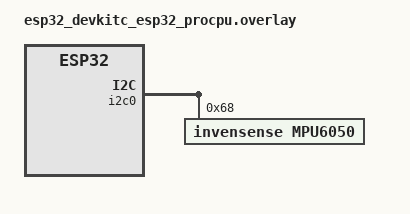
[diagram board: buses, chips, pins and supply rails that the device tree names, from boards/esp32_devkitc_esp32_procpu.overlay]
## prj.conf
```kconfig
#
# Copyright (c) 2019 Nordic Semiconductor ASA
#
# SPDX-License-Identifier: Apache-2.0
#

CONFIG_I2C=y
CONFIG_SENSOR=y
CONFIG_MPU6050_TRIGGER_NONE=y
CONFIG_CBPRINTF_FP_SUPPORT=y

CONFIG_SERIAL=y
CONFIG_UART_INTERRUPT_DRIVEN=y

CONFIG_FLASH=y
CONFIG_FLASH_MAP=y

# crc32_ieee(), used to checksum the stored calibration record
CONFIG_CRC=y
```

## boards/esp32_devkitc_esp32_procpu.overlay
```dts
&i2c0 {
	status = "okay";

	mpu6050@68 {
		compatible = "invensense,mpu6050";
		reg = <0x68>;
		status = "okay";
	};
};
&flash0 {
	status = "okay";
};

&storage_partition {
	status = "okay";
};
```

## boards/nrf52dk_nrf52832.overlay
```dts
/*
 * Copyright (c) 2019 Nordic Semiconductor ASA
 *
 * SPDX-License-Identifier: Apache-2.0
 */

&i2c0 {
	mpu6050@68 {
		compatible = "invensense,mpu6050";
		reg = <0x68>;
		status = "okay";
		int-gpios = <&gpio0 11 GPIO_ACTIVE_HIGH>;
		smplrt-div = <249>;
	};
};
```

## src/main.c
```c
/*
 * Copyright (c) 2019 Nordic Semiconductor ASA
 *
 * SPDX-License-Identifier: Apache-2.0
 */

#include <zephyr/kernel.h>
#include <zephyr/sys/printk.h>
#include <stdbool.h>

#include "accel.h"
#include "calibration.h"
#include "storage.h"
#include "uart_cmd.h"

#define STACKSIZE        1024
#define STACKSIZE_MPU    2048
#define PRIORITY         7
#define PRIORITY_MPU6050 7
#define PRIORITY_UART    6

/* Console report period. Independent of the 9 ms sensor sampling interval. */
#define REPORT_INTERVAL_MS 100

/* UART commands. */
#define CMD_NEXT_POSE 'n'
#define CMD_CALIBRATE 'c'


static void accel_thread(void *p1, void *p2, void *p3)
{
	ARG_UNUSED(p1); ARG_UNUSED(p2); ARG_UNUSED(p3);

	printk("INIT MPU\n");

	if (accel_init() != 0) {
		return;
	}

	accel_run();
}

static void calibration_thread(void *p1, void *p2, void *p3)
{
	struct accel_calibration cal;
	int rc;

	ARG_UNUSED(p1); ARG_UNUSED(p2); ARG_UNUSED(p3);

	/*
	 * A stored calibration means no six-point routine is needed at boot.
	 * Anything else -- never written, wrong version, corrupt -- is treated
	 * the same way: calibrate now and write the result.
	 */
	rc = storage_load_calibration(&cal);
	if (rc == 0) {
		set_calibration(&cal);
		printk("calibration: loaded from flash, send '%c' to redo\n",
		       CMD_CALIBRATE);
	} else {
		printk("calibration: none stored (%d), starting one\n", rc);
		calibration_request();
	}

	while (1) {
		calibration_wait();

		rc = calibration_run(&cal);
		if (rc != 0) {
			printk("calibration failed: %d\n", rc);
			continue;
		}

		rc = storage_store_calibration(&cal);
		if (rc != 0) {
			printk("calibration: store failed: %d, "
			       "values are lost on reset\n", rc);
		} else {
			printk("calibration: stored to flash\n");
		}
	}
}

static void command_thread(void *p1, void *p2, void *p3)
{
	char command[UART_CMD_MAX_LEN];

	ARG_UNUSED(p1); ARG_UNUSED(p2); ARG_UNUSED(p3);

	if (uart_cmd_init() != 0) {
		return;
	}

	while (1) {
		if (uart_cmd_get(command, sizeof(command), K_FOREVER) != 0) {
			continue;
		}

		switch (command[0]) {
		case CMD_NEXT_POSE:
			/* operator confirmed the current calibration pose */
			calibration_advance();
			break;
		case CMD_CALIBRATE:
			/* recalibrate and overwrite whatever is in flash */
			calibration_request();
			break;
		default:
			printk("unknown command: %s\n", command);
			break;
		}
	}
}

int main(void)
{
	if (storage_init() != 0) {
		printk("continuing without persistent storage\n");
	}

	/*
	 * Sole owner of the per-sample console output. Reporting from here
	 * rather than inside accel.c decouples the print rate from the sample
	 * rate, and keeps accel.c independent of calibration.c -- the sensor
	 * layer has no reason to know whether a calibration exists.
	 */
	while (1) {
		struct accel_sample s;

		if (accel_get_latest(&s) == 0) {
			bool cal = calibration_apply_active(&s) == 0;

			printk("[%s] [%f] [%f] [%f] g\n", cal ? "CAL" : "RAW",
			       (double)s.x, (double)s.y, (double)s.z);
		}

		k_sleep(K_MSEC(REPORT_INTERVAL_MS));
	}
}

K_THREAD_DEFINE(accel_tid, STACKSIZE_MPU, accel_thread, NULL, NULL, NULL,
		PRIORITY_MPU6050, K_FP_REGS, 0);

K_THREAD_DEFINE(calibration_tid, STACKSIZE_MPU, calibration_thread, NULL, NULL, NULL,
		PRIORITY, K_FP_REGS, 0);

K_THREAD_DEFINE(command_tid, STACKSIZE, command_thread, NULL, NULL, NULL,
		PRIORITY_UART, 0, 0);
```

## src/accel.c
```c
/*
 * Copyright (c) 2019 Nordic Semiconductor ASA
 *
 * SPDX-License-Identifier: Apache-2.0
 */

#include "accel.h"

#include <zephyr/kernel.h>
#include <zephyr/device.h>
#include <zephyr/drivers/sensor.h>
#include <zephyr/sys/printk.h>
#include <errno.h>
#include <stdbool.h>

#define SAMPLE_INTERVAL_MS 9

/* SENSOR_G is one g expressed in micro-m/s/s. */
#define ACCEL_MS2_PER_G ((float)SENSOR_G / 1000000.0f)

static const struct device *const accel_dev =
	DEVICE_DT_GET_ONE(invensense_mpu6050);

/*
 * The sampling thread writes the latest reading and the calibration thread
 * reads it, so the fields below are only touched under the mutex.
 */
K_MUTEX_DEFINE(sample_lock);
static struct accel_sample latest;
static bool latest_valid;

static void publish(const struct accel_sample *s)
{
	k_mutex_lock(&sample_lock, K_FOREVER);
	latest = *s;
	latest_valid = true;
	k_mutex_unlock(&sample_lock);
}

int accel_get_latest(struct accel_sample *out)
{
	int rc = 0;

	k_mutex_lock(&sample_lock, K_FOREVER);
	if (latest_valid) {
		*out = latest;
	} else {
		rc = -EAGAIN;
	}
	k_mutex_unlock(&sample_lock);

	return rc;
}

static float to_g(const struct sensor_value *v)
{
	return (float)sensor_value_to_double(v) / ACCEL_MS2_PER_G;
}

static int process_sample(const struct device *dev)
{
	struct sensor_value accel[3];
	/* Read and validated alongside the accelerometer; not consumed yet. */
	struct sensor_value gyro[3];
	struct sensor_value temperature;
	struct accel_sample s;
	int rc = sensor_sample_fetch(dev);

	if (rc == 0) {
		rc = sensor_channel_get(dev, SENSOR_CHAN_ACCEL_XYZ, accel);
	}
	if (rc == 0) {
		rc = sensor_channel_get(dev, SENSOR_CHAN_GYRO_XYZ, gyro);
	}
	if (rc == 0) {
		rc = sensor_channel_get(dev, SENSOR_CHAN_DIE_TEMP, &temperature);
	}
	if (rc != 0) {
		printk("sample fetch/get failed: %d\n", rc);
		return rc;
	}

	s.x = to_g(&accel[0]);
	s.y = to_g(&accel[1]);
	s.z = to_g(&accel[2]);
	publish(&s);

	return 0;
}

#ifdef CONFIG_MPU6050_TRIGGER
static struct sensor_trigger trigger;

static void handle_drdy(const struct device *dev,
			const struct sensor_trigger *trig)
{
	int rc = process_sample(dev);

	if (rc != 0) {
		printk("cancelling trigger due to failure: %d\n", rc);
		(void)sensor_trigger_set(dev, trig, NULL);
	}
}
#endif /* CONFIG_MPU6050_TRIGGER */

int accel_init(void)
{
	if (!device_is_ready(accel_dev)) {
		printk("Device %s is not ready\n", accel_dev->name);
		return -ENODEV;
	}

#ifdef CONFIG_MPU6050_TRIGGER
	trigger = (struct sensor_trigger){
		.type = SENSOR_TRIG_DATA_READY,
		.chan = SENSOR_CHAN_ALL,
	};

	int rc = sensor_trigger_set(accel_dev, &trigger, handle_drdy);

	if (rc < 0) {
		printk("Cannot configure trigger: %d\n", rc);
		return rc;
	}
	printk("Configured for triggered sampling.\n");
#endif

	return 0;
}

void accel_run(void)
{
	while (!IS_ENABLED(CONFIG_MPU6050_TRIGGER)) {
		if (process_sample(accel_dev) != 0) {
			break;
		}
		k_sleep(K_MSEC(SAMPLE_INTERVAL_MS));
	}
}
```

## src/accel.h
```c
/*
 * Copyright (c) 2019 Nordic Semiconductor ASA
 *
 * SPDX-License-Identifier: Apache-2.0
 */

#ifndef ACCEL_H_
#define ACCEL_H_

/*
 * Application-side wrapper around the MPU6050 driver. The accel_ prefix is
 * deliberate: the driver already exports mpu6050_init(), and app and driver
 * objects are linked into the same image.
 */

/*
 * One acceleration reading, in g (1 g = 9.80665 m/s/s). The driver reports
 * m/s/s; accel.c converts on the way in so that a calibration scale factor
 * comes out near 1.0 and an offset near 0.0, i.e. the deviation from ideal is
 * the sensor error itself rather than a unit conversion folded in with it.
 */
struct accel_sample {
	float x;
	float y;
	float z;
};

/*
 * Bind the sensor and, when triggers are enabled, install the data-ready
 * handler. Returns 0 on success or a negative errno.
 */
int accel_init(void);

/*
 * Sample until a read fails. Returns immediately when CONFIG_MPU6050_TRIGGER
 * is set, because sampling then happens from the trigger handler instead.
 */
void accel_run(void);

/*
 * Copy the most recent sample into *out. Returns 0, or -EAGAIN if the sensor
 * has not produced a reading yet.
 */
int accel_get_latest(struct accel_sample *out);

#endif /* ACCEL_H_ */
```

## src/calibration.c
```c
/*
 * Copyright (c) 2019 Nordic Semiconductor ASA
 *
 * SPDX-License-Identifier: Apache-2.0
 */

#include "calibration.h"
#include "accel.h"

#include <zephyr/kernel.h>
#include <zephyr/sys/printk.h>
#include <errno.h>

/* How long to wait for the sampling thread to produce its first reading. */
#define FIRST_SAMPLE_TIMEOUT_MS 1000
#define FIRST_SAMPLE_POLL_MS    10

/*
 * Given by the command thread when the operator confirms the board is in
 * position, taken by calibration_run(). Replaces the old shared "next" flag.
 */
static K_SEM_DEFINE(orientation_sem, 0, 1);

/*
 * Given when a calibration is wanted: once at boot if flash held nothing, and
 * again whenever the operator asks for one. Taken by calibration_wait().
 */
static K_SEM_DEFINE(start_sem, 0, 1);

/*
 * Readings captured in each orientation. Orientation i is the one where axis
 * (i % CAL_AXES) is aligned with gravity, pointing up for i < CAL_AXES and
 * down for i >= CAL_AXES.
 */
static float raw[CAL_ORIENTATIONS][CAL_AXES];

/*
 * The calibration currently in force. calibration_run() writes to the caller's
 * struct, but that lives on calibration_thread's stack and dies with it, so a
 * file-scope copy is what later reads actually use.
 */
static struct accel_calibration active;
static bool calibrated = false;


static const char *const orientation_name[CAL_ORIENTATIONS] = {
	"+X up", "+Y up", "+Z up", "-X up", "-Y up", "-Z up",
};

void calibration_advance(void)
{
	k_sem_give(&orientation_sem);
}

void calibration_request(void)
{
	k_sem_give(&start_sem);
}

void calibration_wait(void)
{
	k_sem_take(&start_sem, K_FOREVER);
}
int get_calibration(void)
{
	return calibrated;
}
/* Apply a calibration to a sample in place. */
static void calibration_apply(const struct accel_calibration *cal,
			      struct accel_sample *s)
{
	s->x = s->x * cal->scale[0] + cal->offset[0];
	s->y = s->y * cal->scale[1] + cal->offset[1];
	s->z = s->z * cal->scale[2] + cal->offset[2];
}

static int wait_for_first_sample(void)
{
	struct accel_sample s;

	for (int i = 0; i < FIRST_SAMPLE_TIMEOUT_MS / FIRST_SAMPLE_POLL_MS; i++) {
		if (accel_get_latest(&s) == 0) {
			return 0;
		}
		k_sleep(K_MSEC(FIRST_SAMPLE_POLL_MS));
	}

	return -EAGAIN;
}

static int collect(void)
{
	int rc = wait_for_first_sample();

	if (rc != 0) {
		printk("calibration: no sensor data available\n");
		return rc;
	}

	for (int i = 0; i < CAL_ORIENTATIONS; i++) {
		struct accel_sample s;

		printk("calibration: hold the board %s, then send 'n'\n",
		       orientation_name[i]);
		k_sem_take(&orientation_sem, K_FOREVER);

		rc = accel_get_latest(&s);
		if (rc != 0) {
			printk("calibration: sample unavailable: %d\n", rc);
			return rc;
		}

		raw[i][0] = s.x;
		raw[i][1] = s.y;
		raw[i][2] = s.z;
	}

	return 0;
}

static void print_table(const char *title, const struct accel_calibration *cal)
{
	printk("------------- %s -------------------\n", title);

	for (int i = 0; i < CAL_ORIENTATIONS; i++) {
		struct accel_sample s = {
			.x = raw[i][0],
			.y = raw[i][1],
			.z = raw[i][2],
		};

		if (cal != NULL) {
			calibration_apply(cal, &s);
		}
		printk("[%f] [%f] [%f]\n", (double)s.x, (double)s.y, (double)s.z);
	}
}

int calibration_run(struct accel_calibration *out)
{
	int rc = collect();

	if (rc != 0) {
		return rc;
	}

	print_table("uncalibrated", NULL);

	/*
	 * Nudge an exactly-zero gravity-aligned reading off zero; it would
	 * otherwise be the sole term of a denominator below.
	 */
	for (int i = 0; i < CAL_ORIENTATIONS; i++) {
		int axis = i % CAL_AXES;

		if (raw[i][axis] == 0.0f) {
			raw[i][axis] = 1e-7f;
		}
	}

	/*
	 * Samples arrive in g, so a healthy axis reads about +1 up and -1 down
	 * and the 2.0f below is that expected 2 g span. Scale therefore lands
	 * near 1.0 and offset near 0.0; how far each strays is the sensor's own
	 * sensitivity error and zero-g bias, both in g.
	 */
	for (int axis = 0; axis < CAL_AXES; axis++) {
		float up = raw[axis][axis];
		float down = raw[axis + CAL_AXES][axis];

		out->offset[axis] = -((up + down) / (up - down));
		out->scale[axis] = 2.0f / (up - down);
	}
	active = *out;
	calibrated = true;
	print_table("calibrated", out);

	return 0;
}

/* Adopt a calibration read back from flash, skipping the six-point routine. */
int set_calibration(const struct accel_calibration *cal)
{
	active = *cal;
	calibrated = true;

	return 0;
}

int calibration_apply_active(struct accel_sample *s)
{
	if (!calibrated) {
		return -EAGAIN;
	}

	calibration_apply(&active, s);

	return 0;
}
```

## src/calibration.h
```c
/*
 * Copyright (c) 2019 Nordic Semiconductor ASA
 *
 * SPDX-License-Identifier: Apache-2.0
 */

#ifndef CALIBRATION_H_
#define CALIBRATION_H_

#include "accel.h"

#define CAL_AXES         3
#define CAL_ORIENTATIONS 6

/* Per-axis correction: corrected = raw * scale + offset. */
struct accel_calibration {
	float offset[CAL_AXES];
	float scale[CAL_AXES];
};

/*
 * Six-point calibration. Prompts for each of the six axis-aligned
 * orientations in turn and blocks until calibration_advance() is called,
 * then derives the offsets and scales. Returns 0 on success or a negative
 * errno if no sensor data was available.
 */
int calibration_run(struct accel_calibration *out);

/*
 * Signal that the board is resting in the orientation last prompted for.
 * Safe to call from another thread; this is what unblocks calibration_run().
 */
void calibration_advance(void);

/* Ask for a (re)calibration. Safe to call from another thread; this is what
 * the operator's calibrate command and the empty-flash boot path both use.
 */
void calibration_request(void);

/* Block until calibration_request() is called. */
void calibration_wait(void);

/* Non-zero once a calibration is in force, from either calibration_run()
 * or set_calibration().
 */
int get_calibration(void);

/* Adopt a calibration loaded from flash instead of running the six-point
 * routine. Returns 0 on success.
 */
int set_calibration(const struct accel_calibration *cal);

/* Correct *s in place using the active calibration.
 * Returns 0, or -EAGAIN if nothing is calibrated yet (s is left untouched).
 */
int calibration_apply_active(struct accel_sample *s);

#endif /* CALIBRATION_H_ */
```

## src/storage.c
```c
/*
 * Copyright (c) 2019 Nordic Semiconductor ASA
 *
 * SPDX-License-Identifier: Apache-2.0
 */

#include "storage.h"

#include <zephyr/kernel.h>
#include <zephyr/device.h>
#include <zephyr/drivers/flash.h>
#include <zephyr/storage/flash_map.h>
#include <zephyr/sys/crc.h>
#include <zephyr/sys/printk.h>
#include <errno.h>
#include <stddef.h>

#define STORAGE_PARTITION storage_partition

/* "MPUC". Bump CAL_VERSION whenever struct cal_record changes shape. */
#define CAL_MAGIC   0x4350554dU
#define CAL_VERSION 1U

/*
 * Stored at offset 0 of the storage partition. The magic separates a real
 * record from erased flash (all 0xFF), the version rejects one written by an
 * older layout, and the CRC catches a write cut short by a reset.
 */
struct cal_record {
	uint32_t magic;
	uint32_t version;
	struct accel_calibration cal;
	uint32_t crc;
};

/* flash_area_write needs a size that is a multiple of the write block. */
BUILD_ASSERT(sizeof(struct cal_record) % 4 == 0,
	     "cal_record must be a multiple of the flash write block size");

static const struct flash_area *storage_area;

static uint32_t record_crc(const struct cal_record *rec)
{
	return crc32_ieee((const uint8_t *)rec, offsetof(struct cal_record, crc));
}

/*
 * Opened on first use so load/store do not depend on storage_init() having run
 * first. Thread start order is not something this module should have to rely on.
 */
static int ensure_open(void)
{
	int rc;

	if (storage_area != NULL) {
		return 0;
	}

	rc = flash_area_open(PARTITION_ID(STORAGE_PARTITION), &storage_area);
	if (rc != 0) {
		printk("storage: cannot open partition: %d\n", rc);
		storage_area = NULL;
		return rc;
	}

	if (!flash_area_device_is_ready(storage_area)) {
		printk("storage: flash device not ready\n");
		flash_area_close(storage_area);
		storage_area = NULL;
		return -ENODEV;
	}

	return 0;
}

int storage_init(void)
{
	return ensure_open();
}

int storage_load_calibration(struct accel_calibration *cal)
{
	struct cal_record rec;
	int rc = ensure_open();

	if (rc != 0) {
		return rc;
	}

	rc = flash_area_read(storage_area, 0, &rec, sizeof(rec));
	if (rc != 0) {
		printk("storage: read failed: %d\n", rc);
		return rc;
	}

	if (rec.magic != CAL_MAGIC) {
		/* Erased or never written -- not an error worth logging. */
		return -ENOENT;
	}

	if (rec.version != CAL_VERSION) {
		printk("storage: record version %u, expected %u\n",
		       rec.version, CAL_VERSION);
		return -ENOTSUP;
	}

	if (rec.crc != record_crc(&rec)) {
		printk("storage: record checksum mismatch\n");
		return -EILSEQ;
	}

	*cal = rec.cal;

	return 0;
}

int storage_store_calibration(const struct accel_calibration *cal)
{
	struct cal_record rec = {
		.magic = CAL_MAGIC,
		.version = CAL_VERSION,
		.cal = *cal,
	};
	struct flash_pages_info page;
	int rc = ensure_open();

	if (rc != 0) {
		return rc;
	}

	rec.crc = record_crc(&rec);

	/*
	 * NOR flash can only clear bits on write, so the block has to be erased
	 * first. Erase is page-granular; ask the driver how big a page is here
	 * rather than assuming this SoC's 4 KB.
	 */
	rc = flash_get_page_info_by_offs(flash_area_get_device(storage_area),
					 storage_area->fa_off, &page);
	if (rc != 0) {
		printk("storage: page info failed: %d\n", rc);
		return rc;
	}

	rc = flash_area_erase(storage_area, 0, page.size);
	if (rc != 0) {
		printk("storage: erase failed: %d\n", rc);
		return rc;
	}

	rc = flash_area_write(storage_area, 0, &rec, sizeof(rec));
	if (rc != 0) {
		printk("storage: write failed: %d\n", rc);
		return rc;
	}

	return 0;
}
```

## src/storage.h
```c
/*
 * Copyright (c) 2019 Nordic Semiconductor ASA
 *
 * SPDX-License-Identifier: Apache-2.0
 */

#ifndef STORAGE_H_
#define STORAGE_H_

#include "calibration.h"

/* Open the storage partition. Load/store do this themselves if needed, so
 * calling it early is only useful to surface a problem sooner.
 */
int storage_init(void);

/* Persist the calibration, replacing any previous record. Returns 0 or a
 * negative errno.
 */
int storage_store_calibration(const struct accel_calibration *cal);

/* Read the stored calibration. Returns 0 on success, -ENOENT if nothing has
 * been stored, -ENOTSUP on a version mismatch, or -EILSEQ if the record is
 * corrupt. Any non-zero return means *cal is untouched and a fresh
 * calibration is needed.
 */
int storage_load_calibration(struct accel_calibration *cal);

#endif /* STORAGE_H_ */
```

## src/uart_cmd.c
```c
/*
 * Copyright (c) 2019 Nordic Semiconductor ASA
 *
 * SPDX-License-Identifier: Apache-2.0
 */

#include "uart_cmd.h"

#include <zephyr/kernel.h>
#include <zephyr/device.h>
#include <zephyr/drivers/uart.h>
#include <zephyr/sys/printk.h>
#include <errno.h>
#include <string.h>

#define UART_DEVICE_NODE DT_NODELABEL(uart0)

/* Queue of up to 10 completed command lines (aligned to a 4-byte boundary). */
K_MSGQ_DEFINE(uart_msgq, UART_CMD_MAX_LEN, 10, 4);

static const struct device *const uart_dev = DEVICE_DT_GET(UART_DEVICE_NODE);

/* Owned by the ISR: line assembled here, then copied into the queue. */
static char rx_buf[UART_CMD_MAX_LEN];
static size_t rx_buf_pos;

static void serial_cb(const struct device *dev, void *user_data)
{
	uint8_t c;

	ARG_UNUSED(dev); ARG_UNUSED(user_data);

	uart_irq_update(uart_dev);

	if (uart_irq_rx_ready(uart_dev) <= 0) {
		return;
	}

	/* read until FIFO empty */
	while (uart_fifo_read(uart_dev, &c, 1) == 1) {
		if ((c == '\n' || c == '\r') && rx_buf_pos > 0) {
			rx_buf[rx_buf_pos] = '\0';

			/* if queue is full, message is silently dropped */
			k_msgq_put(&uart_msgq, rx_buf, K_NO_WAIT);

			rx_buf_pos = 0;
		} else if (rx_buf_pos < sizeof(rx_buf) - 1) {
			rx_buf[rx_buf_pos++] = c;
		}
		/* else: characters beyond buffer size are dropped */
	}
}

int uart_cmd_init(void)
{
	int rc;

	if (!device_is_ready(uart_dev)) {
		printk("UART device not found!\n");
		return -ENODEV;
	}

	rc = uart_irq_callback_user_data_set(uart_dev, serial_cb, NULL);
	if (rc < 0) {
		if (rc == -ENOTSUP) {
			printk("Interrupt-driven UART API support not enabled\n");
		} else if (rc == -ENOSYS) {
			printk("UART device does not support interrupt-driven API\n");
		} else {
			printk("Error setting UART callback: %d\n", rc);
		}
		return rc;
	}

	uart_irq_rx_enable(uart_dev);

	return 0;
}

int uart_cmd_get(char *buf, size_t len, k_timeout_t timeout)
{
	char msg[UART_CMD_MAX_LEN];

	if (len < sizeof(msg)) {
		return -EINVAL;
	}

	if (k_msgq_get(&uart_msgq, msg, timeout) != 0) {
		return -ENOMSG;
	}

	memcpy(buf, msg, sizeof(msg));

	return 0;
}
```

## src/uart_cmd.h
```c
/*
 * Copyright (c) 2019 Nordic Semiconductor ASA
 *
 * SPDX-License-Identifier: Apache-2.0
 */

#ifndef UART_CMD_H_
#define UART_CMD_H_

#include <zephyr/kernel.h>
#include <stddef.h>

/* Longest command line accepted, terminating NUL included. */
#define UART_CMD_MAX_LEN 32

/* Bind the console UART and enable interrupt-driven receive. */
int uart_cmd_init(void);

/*
 * Copy the next complete line (CR- or LF-terminated, delimiter stripped) into
 * buf. Returns 0 on success, -ENOMSG if none arrived before the timeout, or
 * -EINVAL if buf is too small to hold a full command.
 */
int uart_cmd_get(char *buf, size_t len, k_timeout_t timeout);

#endif /* UART_CMD_H_ */
```

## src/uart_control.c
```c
#include "uart_controll.h"
#include <zephyr/kernel.h>
#include <zephyr/device.h>
#include <zephyr/drivers/uart.h>

#define UART_DEVICE_NODE DT_NODELABEL(uart0)
#define MSG_SIZE 32
/* queue to store up to 10 messages (aligned to 4-byte boundary) */
K_MSGQ_DEFINE(uart_msgq, MSG_SIZE, 10, 4);

static const struct device *const uart_dev = DEVICE_DT_GET(UART_DEVICE_NODE);
/* receive buffer used in UART ISR callback */
static char rx_buf[MSG_SIZE];

int rx_buf_pos;

void serial_cb(const struct device *dev, void *user_data)
{
	uint8_t c;

	uart_irq_update(uart_dev);

	if (uart_irq_rx_ready(uart_dev) <= 0) {
		return;
	}

	/* read until FIFO empty */
	while (uart_fifo_read(uart_dev, &c, 1) == 1) {
		if ((c == '\n' || c == '\r') && rx_buf_pos > 0) {
			/* terminate string */
			rx_buf[rx_buf_pos] = '\0';

			/* if queue is full, message is silently dropped */
			k_msgq_put(&uart_msgq, &rx_buf, K_NO_WAIT);

			/* reset the buffer (it was copied to the msgq) */
			rx_buf_pos = 0;
        
		} else if (rx_buf_pos < (sizeof(rx_buf) - 1)) {
			rx_buf[rx_buf_pos++] = c;
		}
        
		/* else: characters beyond buffer size are dropped */
	}
}

int print_uart(char *buf){
	int msg_len = strlen(buf);

	for (int i = 0; i < msg_len; i++) {
		uart_poll_out(uart_dev, buf[i]);
	}
}

int initialize_uart(){
	if (!device_is_ready(uart_dev)) {
		printk("UART device not found!");
		return 0;
	}

	int ret = uart_irq_callback_user_data_set(uart_dev, serial_cb, NULL);
	if (ret < 0) {
		if (ret == -ENOTSUP) {
			printk("Interrupt-driven UART API support not enabled\n");
		} else if (ret == -ENOSYS) {
			printk("UART device does not support interrupt-driven API\n");
		} else {
			printk("Error setting UART callback: %d\n", ret);
		}
		return 0;
	}
	uart_irq_rx_enable(uart_dev);
    
}

char *get_data()
{
	return rx_buf;
}
```

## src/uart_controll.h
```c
int initialize_uart();
char *get_data();
```
